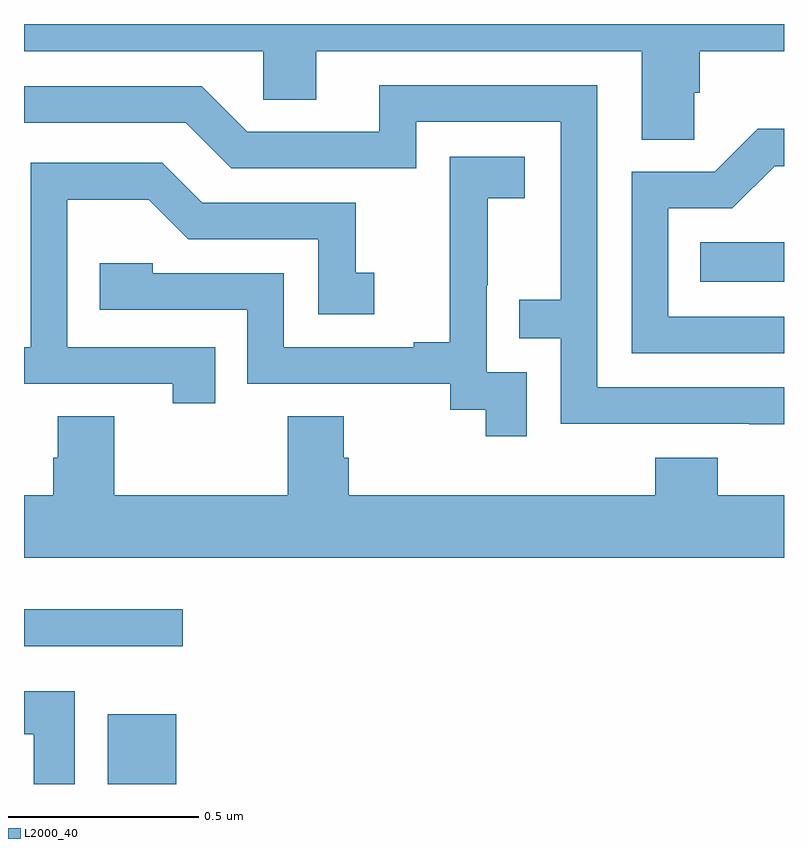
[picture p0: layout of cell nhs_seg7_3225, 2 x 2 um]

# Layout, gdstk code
import gdstk
lib = gdstk.Library(unit=1e-6, precision=1e-09)
def R(c, l, rs):  # rectangles x0, y0, x1, y1
    for r in rs: c.add(gdstk.rectangle(r[:2], r[2:], *l))
def P(c, l, *ps):  # polygons
    for p in ps: c.add(gdstk.Polygon(p, *l))
L2000_40 = (2000, 40)

nhs_seg7_3225 = lib.new_cell('nhs_seg7_3225')
R(nhs_seg7_3225, L2000_40, [(156.221,1020,156.4,1020.184), (156,1020.363,156.418,1020.46), (157.78,1021.322,158,1021.426)])
P(nhs_seg7_3225, L2000_40, [(157.764,1021.819),(157.778,1021.819),(157.778,1021.928),(158,1021.928),(158,1022),(156,1022),(156,1021.928),(156.63,1021.928),(156.63,1021.801),(156.769,1021.801),(156.769,1021.928),(157.625,1021.928),(157.625,1021.696),(157.764,1021.696)],
  [(158,1021.044),(157.509,1021.044),(157.509,1021.839),(156.935,1021.839),(156.935,1021.716),(156.588,1021.716),(156.468,1021.836),(156,1021.836),(156,1021.74),(156.426,1021.74),(156.546,1021.62),(157.032,1021.62),(157.032,1021.743),(157.413,1021.743),(157.413,1021.274),(157.303,1021.274),(157.303,1021.173),(157.413,1021.173),(157.413,1020.948),(157.909,1020.948),(157.909,1020.947),(158,1020.947)],
  [(158,1021.23),(157.695,1021.23),(157.695,1021.515),(157.864,1021.515),(157.975,1021.626),(158,1021.626),(158,1021.724),(157.931,1021.724),(157.818,1021.611),(157.599,1021.611),(157.599,1021.134),(158,1021.134)],
  [(157.323,1021.083),(157.218,1021.083),(157.218,1021.313),(157.22,1021.313),(157.22,1021.541),(157.318,1021.541),(157.318,1021.651),(157.12,1021.651),(157.12,1021.445),(157.121,1021.445),(157.121,1021.162),(157.025,1021.162),(157.025,1021.149),(156.684,1021.149),(156.684,1021.344),(156.339,1021.344),(156.339,1021.371),(156.199,1021.371),(156.199,1021.248),(156.588,1021.248),(156.588,1021.053),(157.122,1021.053),(157.122,1020.985),(157.215,1020.985),(157.215,1020.915),(157.323,1020.915)],
  [(156.503,1021.149),(156.114,1021.149),(156.114,1021.538),(156.328,1021.538),(156.432,1021.434),(156.774,1021.434),(156.774,1021.236),(156.922,1021.236),(156.922,1021.345),(156.873,1021.345),(156.873,1021.53),(156.469,1021.53),(156.364,1021.635),(156.018,1021.635),(156.018,1021.149),(156,1021.149),(156,1021.053),(156.392,1021.053),(156.392,1021.002),(156.503,1021.002)],
  [(158,1020.76),(157.826,1020.76),(157.826,1020.859),(157.661,1020.859),(157.661,1020.76),(156.854,1020.76),(156.854,1020.858),(156.841,1020.858),(156.841,1020.968),(156.694,1020.968),(156.694,1020.76),(156.237,1020.76),(156.237,1020.968),(156.089,1020.968),(156.089,1020.858),(156.077,1020.858),(156.077,1020.76),(156,1020.76),(156,1020.596),(158,1020.596)],
  [(156.133,1020.244),(156,1020.244),(156,1020.131),(156.026,1020.131),(156.026,1020),(156.133,1020)])

lib.write_gds('nhs_seg7_3225.gds')
